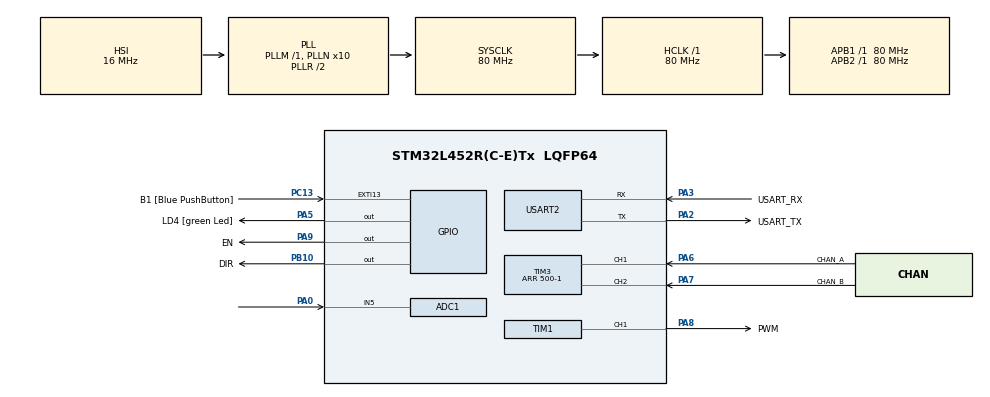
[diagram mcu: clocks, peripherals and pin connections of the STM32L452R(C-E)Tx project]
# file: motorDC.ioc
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ADC1.Channel-0\#ChannelRegularConversion=ADC_CHANNEL_5
ADC1.NbrOfConversionFlag=1
ADC1.OffsetNumber-0\#ChannelRegularConversion=ADC_OFFSET_NONE
ADC1.Rank-0\#ChannelRegularConversion=1
ADC1.SamplingTime-0\#ChannelRegularConversion=ADC_SAMPLETIME_2CYCLES_5
ADC1.master=1
Mcu.Family=STM32L4
Mcu.Name=STM32L452R(C-E)Tx
Mcu.Package=LQFP64
NVIC.PriorityGroup=NVIC_PRIORITYGROUP_4
NVIC.TIM3_IRQn=true\:0\:0\:false\:false\:true\:true\:true\:true
PA0.Signal=ADCx_IN5
PA13\ (JTMS/SWDIO).GPIO_Label=TMS
PA13\ (JTMS/SWDIO).Mode=Serial_Wire
PA13\ (JTMS/SWDIO).Signal=SYS_JTMS-SWDIO
PA14\ (JTCK/SWCLK).GPIO_Label=TCK
PA14\ (JTCK/SWCLK).Mode=Serial_Wire
PA14\ (JTCK/SWCLK).Signal=SYS_JTCK-SWCLK
PA2.GPIO_Label=USART_TX
PA2.GPIO_Mode=GPIO_MODE_AF_PP
PA2.GPIO_PuPd=GPIO_NOPULL
PA2.GPIO_Speed=GPIO_SPEED_FREQ_VERY_HIGH
PA2.Mode=Asynchronous
PA2.Signal=USART2_TX
PA3.GPIO_Label=USART_RX
PA3.GPIO_Mode=GPIO_MODE_AF_PP
PA3.GPIO_PuPd=GPIO_NOPULL
PA3.GPIO_Speed=GPIO_SPEED_FREQ_VERY_HIGH
PA3.Mode=Asynchronous
PA3.Signal=USART2_RX
PA5.GPIO_Label=LD4 [green Led]
PA5.GPIO_ModeDefaultOutputPP=GPIO_MODE_OUTPUT_PP
PA5.GPIO_PuPd=GPIO_NOPULL
PA5.GPIO_Speed=GPIO_SPEED_FREQ_LOW
PA5.Signal=GPIO_Output
PA6.GPIO_Label=CHAN_A
PA6.Signal=S_TIM3_CH1
PA7.GPIO_Label=CHAN_B
PA7.Signal=S_TIM3_CH2
PA8.GPIO_Label=PWM
PA8.Signal=S_TIM1_CH1
PA9.GPIO_Label=EN
PA9.Signal=GPIO_Output
PB10.GPIO_Label=DIR
PB10.Signal=GPIO_Output
PB3\ (JTDO/TRACESWO).GPIO_Label=SWO
PB3\ (JTDO/TRACESWO).Signal=SYS_JTDO-SWO
PC13.GPIO_Label=B1 [Blue PushButton]
PC13.GPIO_ModeDefaultEXTI=GPIO_MODE_IT_FALLING
PC13.GPIO_PuPd=GPIO_NOPULL
PC13.Signal=GPXTI13
PC14-OSC32_IN\ (PC14).Mode=LSE-External-Oscillator
PC14-OSC32_IN\ (PC14).Signal=RCC_OSC32_IN
PC15-OSC32_OUT\ (PC15).Mode=LSE-External-Oscillator
PC15-OSC32_OUT\ (PC15).Signal=RCC_OSC32_OUT
PH0-OSC_IN\ (PH0).Signal=RCC_OSC_IN
PH1-OSC_OUT\ (PH1).Signal=RCC_OSC_OUT
ProjectManager.HeapSize=0x200
ProjectManager.StackSize=0x400
ProjectManager.TargetToolchain=STM32CubeIDE
RCC.ADCFreq_Value=64000000
RCC.AHBFreq_Value=80000000
RCC.APB1Freq_Value=80000000
RCC.APB1TimFreq_Value=80000000
RCC.APB2Freq_Value=80000000
RCC.APB2TimFreq_Value=80000000
RCC.CortexFreq_Value=80000000
RCC.HCLKFreq_Value=80000000
RCC.HSE_VALUE=8000000
RCC.HSI48_VALUE=48000000
RCC.HSI_VALUE=16000000
RCC.MSI_VALUE=4000000
RCC.PLLN=10
RCC.PLLSourceVirtual=RCC_PLLSOURCE_HSI
RCC.PREFETCH_ENABLE=1
RCC.SYSCLKFreq_VALUE=80000000
RCC.SYSCLKSource=RCC_SYSCLKSOURCE_PLLCLK
RCC.USBFreq_Value=64000000
RCC.VCOOutputFreq_Value=160000000
SH.ADCx_IN5.0=ADC1_IN5,IN5-Single-Ended
SH.S_TIM1_CH1.0=TIM1_CH1,PWM Generation1 CH1
SH.S_TIM3_CH1.0=TIM3_CH1,Encoder_Interface
SH.S_TIM3_CH2.0=TIM3_CH2,Encoder_Interface
TIM1.Channel-PWM\ Generation1\ CH1=TIM_CHANNEL_1
TIM1.Period=1000-1
TIM1.Prescaler=80
TIM1.Pulse-PWM\ Generation1\ CH1=0
TIM3.EncoderMode=TIM_ENCODERMODE_TI12
TIM3.IC1Polarity=TIM_ICPOLARITY_FALLING
TIM3.IC2Polarity=TIM_ICPOLARITY_FALLING
TIM3.Period=500-1
USART2.VirtualMode-Asynchronous=VM_ASYNC
VP_TIM1_VS_ClockSourceINT.Mode=Internal
board=NUCLEO-L452RE

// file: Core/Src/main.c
/* USER CODE BEGIN Header */
/**
  ******************************************************************************
  * @file           : main.c
  * @brief          : Main program body
  ******************************************************************************
  * @attention
  *
  * Copyright (c) 2023 STMicroelectronics.
  * All rights reserved.
  *
  * This software is licensed under terms that can be found in the LICENSE file
  * in the root directory of this software component.
  * If no LICENSE file comes with this software, it is provided AS-IS.
  *
  ******************************************************************************
  */
/* USER CODE END Header */
#include "main.h"

/* USER CODE BEGIN Includes */
#include "stdio.h"
#include "math.h"
/* USER CODE END Includes */

ADC_HandleTypeDef hadc1;

TIM_HandleTypeDef htim1;
TIM_HandleTypeDef htim3;

UART_HandleTypeDef huart2;

void SystemClock_Config(void);
static void MX_GPIO_Init(void);
static void MX_USART2_UART_Init(void);
static void MX_ADC1_Init(void);
static void MX_TIM1_Init(void);
static void MX_TIM3_Init(void);

/* USER CODE BEGIN 0 */
uint16_t pote_lect;
int32_t encoder_position;
uint16_t timer_counter;
int16_t c1=0;
float angle=180;
float pote_angle;

float error;
float error_acum;
int act;

uint32_t tiempo_inicio;
uint32_t tiempo_actual;
uint32_t tdiff;

void HAL_TIM_PeriodElapsedCallback(TIM_HandleTypeDef *htim)
{
	timer_counter = __HAL_TIM_GET_COUNTER(&htim3);
	if(__HAL_TIM_IS_TIM_COUNTING_DOWN(&htim3)){
		c1-=1;
	}
	else if (!__HAL_TIM_IS_TIM_COUNTING_DOWN(&htim3)){
		c1+=1;
	}
	if(c1<0){
		c1=2;
		angle-=1.9251;
	}
	else if(c1>=2){
		c1=0;
		angle+=1.9251;
	}
	if(angle>=360){
		angle=0;
	}
	else if(angle<0){
		angle=359;
	}

}

/* USER CODE END 0 */

int main(void)
{

  /* MCU Configuration--------------------------------------------------------*/

  /* Reset of all peripherals, Initializes the Flash interface and the Systick. */
  HAL_Init();

  /* Configure the system clock */
  SystemClock_Config();

  /* Initialize all configured peripherals */
  MX_GPIO_Init();
  MX_USART2_UART_Init();
  MX_ADC1_Init();
  MX_TIM1_Init();
  MX_TIM3_Init();
  /* USER CODE BEGIN 2 */
  HAL_TIM_Base_Start_IT(&htim3);
  HAL_TIM_Encoder_Start_IT(&htim3, TIM_CHANNEL_ALL);
  HAL_TIM_PWM_Start(&htim1, TIM_CHANNEL_1);

  float Kp = 32;
  float Ki = 0.4;
  error_acum=0;

  /* USER CODE END 2 */

  /* Infinite loop */
  /* USER CODE BEGIN WHILE */
  while (1)
  {
	  tiempo_inicio=HAL_GetTick();
	  HAL_ADC_Start(&hadc1);
	  HAL_ADC_PollForConversion(&hadc1, 100);
	  pote_lect=HAL_ADC_GetValue(&hadc1);
	  HAL_ADC_Stop(&hadc1);
	  HAL_Delay(100);
	  pote_angle=round(0.066*pote_lect)+40;

	  tiempo_actual = HAL_GetTick();

	  error= pote_angle - angle;

	  tdiff= tiempo_actual-tiempo_inicio;

	  error_acum = error_acum + error*tdiff*0.02;

	  if(error_acum>900){
	  		  error_acum=800;
	  }
	  if(error_acum<-900){
		  error_acum=-800;
	  }

	  act=(int)(round(Kp*error + Ki*error_acum));

	  HAL_GPIO_WritePin(EN_GPIO_Port, EN_Pin, 1); //enable

	  if(act>=0){
		  if(act>999){
			  act=999;
		  }
		  HAL_GPIO_WritePin(DIR_GPIO_Port, DIR_Pin, 0);//1 CW   0 contrareloj
		  __HAL_TIM_SET_COMPARE(&htim1,TIM_CHANNEL_1,act);

	  }
	  if(act<0){
		  act=-act;
		  if(act>999){
			  act=999;
		  }

		  HAL_GPIO_WritePin(DIR_GPIO_Port, DIR_Pin, 1);//1 CW   0 contrareloj
		  __HAL_TIM_SET_COMPARE(&htim1,TIM_CHANNEL_1,act);
	  }

    /* USER CODE END WHILE */

  }
}

void SystemClock_Config(void)
{
  RCC_OscInitTypeDef RCC_OscInitStruct = {0};
  RCC_ClkInitTypeDef RCC_ClkInitStruct = {0};

  /** Configure the main internal regulator output voltage
  */
  if (HAL_PWREx_ControlVoltageScaling(PWR_REGULATOR_VOLTAGE_SCALE1) != HAL_OK)
  {
    Error_Handler();
  }

  /** Initializes the RCC Oscillators according to the specified parameters
  * in the RCC_OscInitTypeDef structure.
  */
  RCC_OscInitStruct.OscillatorType = RCC_OSCILLATORTYPE_HSI;
  RCC_OscInitStruct.HSIState = RCC_HSI_ON;
  RCC_OscInitStruct.HSICalibrationValue = RCC_HSICALIBRATION_DEFAULT;
  RCC_OscInitStruct.PLL.PLLState = RCC_PLL_ON;
  RCC_OscInitStruct.PLL.PLLSource = RCC_PLLSOURCE_HSI;
  RCC_OscInitStruct.PLL.PLLM = 1;
  RCC_OscInitStruct.PLL.PLLN = 10;
  RCC_OscInitStruct.PLL.PLLP = RCC_PLLP_DIV7;
  RCC_OscInitStruct.PLL.PLLQ = RCC_PLLQ_DIV2;
  RCC_OscInitStruct.PLL.PLLR = RCC_PLLR_DIV2;
  if (HAL_RCC_OscConfig(&RCC_OscInitStruct) != HAL_OK)
  {
    Error_Handler();
  }

  /** Initializes the CPU, AHB and APB buses clocks
  */
  RCC_ClkInitStruct.ClockType = RCC_CLOCKTYPE_HCLK|RCC_CLOCKTYPE_SYSCLK
                              |RCC_CLOCKTYPE_PCLK1|RCC_CLOCKTYPE_PCLK2;
  RCC_ClkInitStruct.SYSCLKSource = RCC_SYSCLKSOURCE_PLLCLK;
  RCC_ClkInitStruct.AHBCLKDivider = RCC_SYSCLK_DIV1;
  RCC_ClkInitStruct.APB1CLKDivider = RCC_HCLK_DIV1;
  RCC_ClkInitStruct.APB2CLKDivider = RCC_HCLK_DIV1;

  if (HAL_RCC_ClockConfig(&RCC_ClkInitStruct, FLASH_LATENCY_4) != HAL_OK)
  {
    Error_Handler();
  }
}

static void MX_ADC1_Init(void)
{

  ADC_ChannelConfTypeDef sConfig = {0};

  /** Common config
  */
  hadc1.Instance = ADC1;
  hadc1.Init.ClockPrescaler = ADC_CLOCK_ASYNC_DIV1;
  hadc1.Init.Resolution = ADC_RESOLUTION_12B;
  hadc1.Init.DataAlign = ADC_DATAALIGN_RIGHT;
  hadc1.Init.ScanConvMode = ADC_SCAN_DISABLE;
  hadc1.Init.EOCSelection = ADC_EOC_SINGLE_CONV;
  hadc1.Init.LowPowerAutoWait = DISABLE;
  hadc1.Init.ContinuousConvMode = DISABLE;
  hadc1.Init.NbrOfConversion = 1;
  hadc1.Init.DiscontinuousConvMode = DISABLE;
  hadc1.Init.ExternalTrigConv = ADC_SOFTWARE_START;
  hadc1.Init.ExternalTrigConvEdge = ADC_EXTERNALTRIGCONVEDGE_NONE;
  hadc1.Init.DMAContinuousRequests = DISABLE;
  hadc1.Init.Overrun = ADC_OVR_DATA_PRESERVED;
  hadc1.Init.OversamplingMode = DISABLE;
  if (HAL_ADC_Init(&hadc1) != HAL_OK)
  {
    Error_Handler();
  }

  /** Configure Regular Channel
  */
  sConfig.Channel = ADC_CHANNEL_5;
  sConfig.Rank = ADC_REGULAR_RANK_1;
  sConfig.SamplingTime = ADC_SAMPLETIME_2CYCLES_5;
  sConfig.SingleDiff = ADC_SINGLE_ENDED;
  sConfig.OffsetNumber = ADC_OFFSET_NONE;
  sConfig.Offset = 0;
  if (HAL_ADC_ConfigChannel(&hadc1, &sConfig) != HAL_OK)
  {
    Error_Handler();
  }

}

static void MX_TIM1_Init(void)
{

  TIM_ClockConfigTypeDef sClockSourceConfig = {0};
  TIM_MasterConfigTypeDef sMasterConfig = {0};
  TIM_OC_InitTypeDef sConfigOC = {0};
  TIM_BreakDeadTimeConfigTypeDef sBreakDeadTimeConfig = {0};

  htim1.Instance = TIM1;
  htim1.Init.Prescaler = 80;
  htim1.Init.CounterMode = TIM_COUNTERMODE_UP;
  htim1.Init.Period = 1000-1;
  htim1.Init.ClockDivision = TIM_CLOCKDIVISION_DIV1;
  htim1.Init.RepetitionCounter = 0;
  htim1.Init.AutoReloadPreload = TIM_AUTORELOAD_PRELOAD_DISABLE;
  if (HAL_TIM_Base_Init(&htim1) != HAL_OK)
  {
    Error_Handler();
  }
  sClockSourceConfig.ClockSource = TIM_CLOCKSOURCE_INTERNAL;
  if (HAL_TIM_ConfigClockSource(&htim1, &sClockSourceConfig) != HAL_OK)
  {
    Error_Handler();
  }
  if (HAL_TIM_PWM_Init(&htim1) != HAL_OK)
  {
    Error_Handler();
  }
  sMasterConfig.MasterOutputTrigger = TIM_TRGO_RESET;
  sMasterConfig.MasterOutputTrigger2 = TIM_TRGO2_RESET;
  sMasterConfig.MasterSlaveMode = TIM_MASTERSLAVEMODE_DISABLE;
  if (HAL_TIMEx_MasterConfigSynchronization(&htim1, &sMasterConfig) != HAL_OK)
  {
    Error_Handler();
  }
  sConfigOC.OCMode = TIM_OCMODE_PWM1;
  sConfigOC.Pulse = 0;
  sConfigOC.OCPolarity = TIM_OCPOLARITY_HIGH;
  sConfigOC.OCNPolarity = TIM_OCNPOLARITY_HIGH;
  sConfigOC.OCFastMode = TIM_OCFAST_DISABLE;
  sConfigOC.OCIdleState = TIM_OCIDLESTATE_RESET;
  sConfigOC.OCNIdleState = TIM_OCNIDLESTATE_RESET;
  if (HAL_TIM_PWM_ConfigChannel(&htim1, &sConfigOC, TIM_CHANNEL_1) != HAL_OK)
  {
    Error_Handler();
  }
  sBreakDeadTimeConfig.OffStateRunMode = TIM_OSSR_DISABLE;
  sBreakDeadTimeConfig.OffStateIDLEMode = TIM_OSSI_DISABLE;
  sBreakDeadTimeConfig.LockLevel = TIM_LOCKLEVEL_OFF;
  sBreakDeadTimeConfig.DeadTime = 0;
  sBreakDeadTimeConfig.BreakState = TIM_BREAK_DISABLE;
  sBreakDeadTimeConfig.BreakPolarity = TIM_BREAKPOLARITY_HIGH;
  sBreakDeadTimeConfig.BreakFilter = 0;
  sBreakDeadTimeConfig.Break2State = TIM_BREAK2_DISABLE;
  sBreakDeadTimeConfig.Break2Polarity = TIM_BREAK2POLARITY_HIGH;
  sBreakDeadTimeConfig.Break2Filter = 0;
  sBreakDeadTimeConfig.AutomaticOutput = TIM_AUTOMATICOUTPUT_DISABLE;
  if (HAL_TIMEx_ConfigBreakDeadTime(&htim1, &sBreakDeadTimeConfig) != HAL_OK)
  {
    Error_Handler();
  }
  HAL_TIM_MspPostInit(&htim1);

}

static void MX_TIM3_Init(void)
{

  TIM_Encoder_InitTypeDef sConfig = {0};
  TIM_MasterConfigTypeDef sMasterConfig = {0};

  htim3.Instance = TIM3;
  htim3.Init.Prescaler = 0;
  htim3.Init.CounterMode = TIM_COUNTERMODE_UP;
  htim3.Init.Period = 500-1;
  htim3.Init.ClockDivision = TIM_CLOCKDIVISION_DIV1;
  htim3.Init.AutoReloadPreload = TIM_AUTORELOAD_PRELOAD_DISABLE;
  sConfig.EncoderMode = TIM_ENCODERMODE_TI12;
  sConfig.IC1Polarity = TIM_ICPOLARITY_FALLING;
  sConfig.IC1Selection = TIM_ICSELECTION_DIRECTTI;
  sConfig.IC1Prescaler = TIM_ICPSC_DIV1;
  sConfig.IC1Filter = 0;
  sConfig.IC2Polarity = TIM_ICPOLARITY_FALLING;
  sConfig.IC2Selection = TIM_ICSELECTION_DIRECTTI;
  sConfig.IC2Prescaler = TIM_ICPSC_DIV1;
  sConfig.IC2Filter = 0;
  if (HAL_TIM_Encoder_Init(&htim3, &sConfig) != HAL_OK)
  {
    Error_Handler();
  }
  sMasterConfig.MasterOutputTrigger = TIM_TRGO_RESET;
  sMasterConfig.MasterSlaveMode = TIM_MASTERSLAVEMODE_DISABLE;
  if (HAL_TIMEx_MasterConfigSynchronization(&htim3, &sMasterConfig) != HAL_OK)
  {
    Error_Handler();
  }

}

static void MX_USART2_UART_Init(void)
{

  huart2.Instance = USART2;
  huart2.Init.BaudRate = 115200;
  huart2.Init.WordLength = UART_WORDLENGTH_8B;
  huart2.Init.StopBits = UART_STOPBITS_1;
  huart2.Init.Parity = UART_PARITY_NONE;
  huart2.Init.Mode = UART_MODE_TX_RX;
  huart2.Init.HwFlowCtl = UART_HWCONTROL_NONE;
  huart2.Init.OverSampling = UART_OVERSAMPLING_16;
  huart2.Init.OneBitSampling = UART_ONE_BIT_SAMPLE_DISABLE;
  huart2.AdvancedInit.AdvFeatureInit = UART_ADVFEATURE_NO_INIT;
  if (HAL_UART_Init(&huart2) != HAL_OK)
  {
    Error_Handler();
  }

}

static void MX_GPIO_Init(void)
{
  GPIO_InitTypeDef GPIO_InitStruct = {0};

  /* GPIO Ports Clock Enable */
  __HAL_RCC_GPIOC_CLK_ENABLE();
  __HAL_RCC_GPIOH_CLK_ENABLE();
  __HAL_RCC_GPIOA_CLK_ENABLE();
  __HAL_RCC_GPIOB_CLK_ENABLE();

  /*Configure GPIO pin Output Level */
  HAL_GPIO_WritePin(GPIOA, LD4_Pin|EN_Pin, GPIO_PIN_RESET);

  /*Configure GPIO pin Output Level */
  HAL_GPIO_WritePin(DIR_GPIO_Port, DIR_Pin, GPIO_PIN_RESET);

  /*Configure GPIO pin : B1_Pin */
  GPIO_InitStruct.Pin = B1_Pin;
  GPIO_InitStruct.Mode = GPIO_MODE_IT_FALLING;
  GPIO_InitStruct.Pull = GPIO_NOPULL;
  HAL_GPIO_Init(B1_GPIO_Port, &GPIO_InitStruct);

  /*Configure GPIO pins : LD4_Pin EN_Pin */
  GPIO_InitStruct.Pin = LD4_Pin|EN_Pin;
  GPIO_InitStruct.Mode = GPIO_MODE_OUTPUT_PP;
  GPIO_InitStruct.Pull = GPIO_NOPULL;
  GPIO_InitStruct.Speed = GPIO_SPEED_FREQ_LOW;
  HAL_GPIO_Init(GPIOA, &GPIO_InitStruct);

  /*Configure GPIO pin : DIR_Pin */
  GPIO_InitStruct.Pin = DIR_Pin;
  GPIO_InitStruct.Mode = GPIO_MODE_OUTPUT_PP;
  GPIO_InitStruct.Pull = GPIO_NOPULL;
  GPIO_InitStruct.Speed = GPIO_SPEED_FREQ_LOW;
  HAL_GPIO_Init(DIR_GPIO_Port, &GPIO_InitStruct);

}

void Error_Handler(void)
{
  __disable_irq();
  while (1)
  {
  }
}
